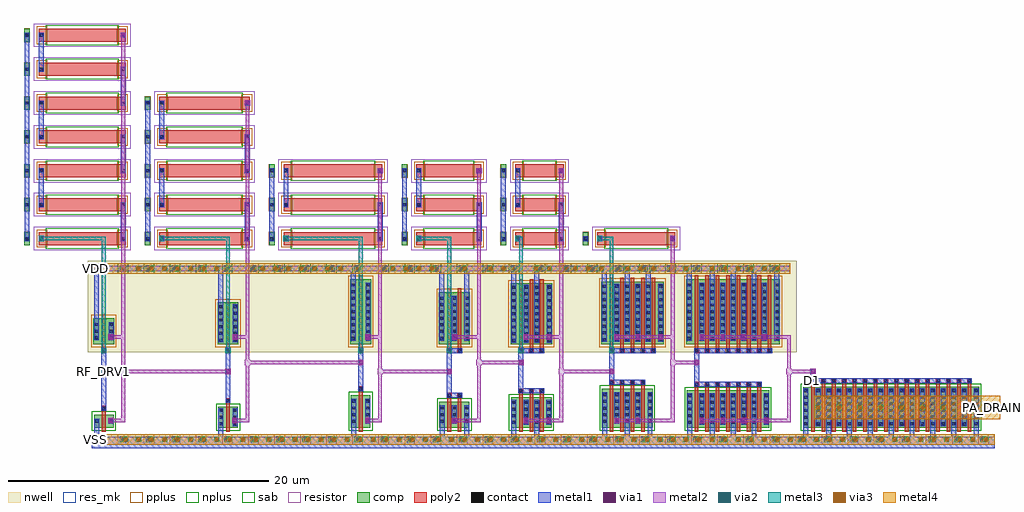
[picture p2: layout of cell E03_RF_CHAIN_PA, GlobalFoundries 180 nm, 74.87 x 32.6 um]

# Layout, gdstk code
import gdstk
lib = gdstk.Library(unit=1e-6, precision=1e-09)
def R(c, l, rs):  # rectangles x0, y0, x1, y1
    for r in rs: c.add(gdstk.rectangle(r[:2], r[2:], *l))
def A(c, l, x, y, w, h, nx, ny, dx, dy):  # array of equal rectangles
    R(c, l, [(x+i*dx, y+j*dy, x+i*dx+w, y+j*dy+h) for i in range(nx) for j in range(ny)])
def P(c, l, *ps):  # polygons
    for p in ps: c.add(gdstk.Polygon(p, *l))
nwell = (21, 0)
comp = (22, 0)
poly2 = (30, 0)
pplus = (31, 0)
nplus = (32, 0)
contact = (33, 0)
metal1 = (34, 0)
via1 = (35, 0)
metal2 = (36, 0)
via2 = (38, 0)
via3 = (40, 0)
metal3 = (42, 0)
metal4 = (46, 0)
sab = (49, 0)
resistor = (62, 0)
res_mk = (110, 5)

e03_nfet_w1_l0p28_nf1_to = lib.new_cell('E03_NFET_W1_L0p28_NF1_top')
R(e03_nfet_w1_l0p28_nf1_to, comp, [(-0.42,0,1.08,1)])
P(e03_nfet_w1_l0p28_nf1_to, poly2, [(0.19,-0.3),(0.19,1.3),(0.15,1.3),(0.15,1.66),(0.51,1.66),(0.51,1.3),(0.47,1.3),(0.47,-0.3)])
R(e03_nfet_w1_l0p28_nf1_to, nplus, [(-0.59,-0.24,1.25,1.24)])
R(e03_nfet_w1_l0p28_nf1_to, contact, [(-0.32,0.39,-0.1,0.61), (0.76,0.39,0.98,0.61), (0.22,1.37,0.44,1.59)])
R(e03_nfet_w1_l0p28_nf1_to, metal1, [(-0.4,0.31,-0.02,0.69), (0.68,0.31,1.06,0.69), (0.14,1.29,0.52,1.67)])

e03_pfet_w2_l0p28_nf1_bo = lib.new_cell('E03_PFET_W2_L0p28_NF1_bottom')
R(e03_pfet_w2_l0p28_nf1_bo, nwell, [(-0.9,-0.44,1.56,2.44)])
R(e03_pfet_w2_l0p28_nf1_bo, comp, [(-0.46,0,1.12,2)])
P(e03_pfet_w2_l0p28_nf1_bo, poly2, [(0.14,-0.68),(0.14,-0.3),(0.19,-0.3),(0.19,2.3),(0.47,2.3),(0.47,-0.3),(0.52,-0.3),(0.52,-0.68)])
R(e03_pfet_w2_l0p28_nf1_bo, pplus, [(-0.63,-0.24,1.29,2.24)])
A(e03_pfet_w2_l0p28_nf1_bo, contact, -0.34, 0.38, 0.22, 0.22, 1, 3, 0, 0.51)
A(e03_pfet_w2_l0p28_nf1_bo, contact, 0.78, 0.38, 0.22, 0.22, 1, 3, 0, 0.51)
R(e03_pfet_w2_l0p28_nf1_bo, contact, [(0.22,-0.6,0.44,-0.38)])
R(e03_pfet_w2_l0p28_nf1_bo, metal1, [(0.14,-0.68,0.52,-0.3), (-0.42,0.3,-0.04,1.7), (0.7,0.3,1.08,1.7)])

e03_rhr_w1_l5p37 = lib.new_cell('E03_RHR_W1_L5p37')
R(e03_rhr_w1_l5p37, comp, [(-1.76,0,-1.34,1)])
R(e03_rhr_w1_l5p37, poly2, [(-0.64,0,6.01,1)])
R(e03_rhr_w1_l5p37, pplus, [(-0.82,-0.18,0,1.18), (5.37,-0.18,6.19,1.18), (-1.78,-0.02,-1.32,1.02)])
R(e03_rhr_w1_l5p37, contact, [(-1.66,0.39,-1.44,0.61), (-0.57,0.39,-0.35,0.61), (5.72,0.39,5.94,0.61)])
R(e03_rhr_w1_l5p37, metal1, [(-1.74,0.31,-1.36,0.69), (-0.65,0.31,-0.27,0.69), (5.64,0.31,6.02,0.69)])
R(e03_rhr_w1_l5p37, sab, [(-0.1,-0.28,5.47,1.28)])
R(e03_rhr_w1_l5p37, resistor, [(-1.04,-0.4,6.41,1.4)])
R(e03_rhr_w1_l5p37, res_mk, [(0,0,5.37,1)])

e03_nfet_w1p6_l0p28_nf1_ = lib.new_cell('E03_NFET_W1p6_L0p28_NF1_top')
R(e03_nfet_w1p6_l0p28_nf1_, comp, [(-0.42,0,1.08,1.6)])
P(e03_nfet_w1p6_l0p28_nf1_, poly2, [(0.19,-0.3),(0.19,1.9),(0.15,1.9),(0.15,2.26),(0.51,2.26),(0.51,1.9),(0.47,1.9),(0.47,-0.3)])
R(e03_nfet_w1p6_l0p28_nf1_, nplus, [(-0.59,-0.24,1.25,1.84)])
A(e03_nfet_w1p6_l0p28_nf1_, contact, -0.32, 0.18, 0.22, 0.22, 1, 3, 0, 0.51)
A(e03_nfet_w1p6_l0p28_nf1_, contact, 0.76, 0.18, 0.22, 0.22, 1, 3, 0, 0.51)
R(e03_nfet_w1p6_l0p28_nf1_, contact, [(0.22,1.97,0.44,2.19)])
R(e03_nfet_w1p6_l0p28_nf1_, metal1, [(-0.4,0.1,-0.02,1.5), (0.68,0.1,1.06,1.5), (0.14,1.89,0.52,2.27)])

e03_pfet_w3p2_l0p28_nf1_ = lib.new_cell('E03_PFET_W3p2_L0p28_NF1_bottom')
R(e03_pfet_w3p2_l0p28_nf1_, nwell, [(-0.9,-0.44,1.56,3.64)])
R(e03_pfet_w3p2_l0p28_nf1_, comp, [(-0.46,0,1.12,3.2)])
P(e03_pfet_w3p2_l0p28_nf1_, poly2, [(0.14,-0.68),(0.14,-0.3),(0.19,-0.3),(0.19,3.5),(0.47,3.5),(0.47,-0.3),(0.52,-0.3),(0.52,-0.68)])
R(e03_pfet_w3p2_l0p28_nf1_, pplus, [(-0.63,-0.24,1.29,3.44)])
A(e03_pfet_w3p2_l0p28_nf1_, contact, -0.34, 0.215, 0.22, 0.22, 1, 6, 0, 0.51)
A(e03_pfet_w3p2_l0p28_nf1_, contact, 0.78, 0.215, 0.22, 0.22, 1, 6, 0, 0.51)
R(e03_pfet_w3p2_l0p28_nf1_, contact, [(0.22,-0.6,0.44,-0.38)])
R(e03_pfet_w3p2_l0p28_nf1_, metal1, [(0.14,-0.68,0.52,-0.3), (-0.42,0.135,-0.04,3.065), (0.7,0.135,1.08,3.065)])

e03_rhr_w1_l5p65 = lib.new_cell('E03_RHR_W1_L5p65')
R(e03_rhr_w1_l5p65, comp, [(-1.76,0,-1.34,1)])
R(e03_rhr_w1_l5p65, poly2, [(-0.64,0,6.29,1)])
R(e03_rhr_w1_l5p65, pplus, [(-0.82,-0.18,0,1.18), (5.65,-0.18,6.47,1.18), (-1.78,-0.02,-1.32,1.02)])
R(e03_rhr_w1_l5p65, contact, [(-1.66,0.39,-1.44,0.61), (-0.57,0.39,-0.35,0.61), (6,0.39,6.22,0.61)])
R(e03_rhr_w1_l5p65, metal1, [(-1.74,0.31,-1.36,0.69), (-0.65,0.31,-0.27,0.69), (5.92,0.31,6.3,0.69)])
R(e03_rhr_w1_l5p65, sab, [(-0.1,-0.28,5.75,1.28)])
R(e03_rhr_w1_l5p65, resistor, [(-1.04,-0.4,6.69,1.4)])
R(e03_rhr_w1_l5p65, res_mk, [(0,0,5.65,1)])

e03_nfet_w2p5_l0p28_nf1_ = lib.new_cell('E03_NFET_W2p5_L0p28_NF1_top')
R(e03_nfet_w2p5_l0p28_nf1_, comp, [(-0.42,0,1.08,2.5)])
P(e03_nfet_w2p5_l0p28_nf1_, poly2, [(0.19,-0.3),(0.19,2.8),(0.15,2.8),(0.15,3.16),(0.51,3.16),(0.51,2.8),(0.47,2.8),(0.47,-0.3)])
R(e03_nfet_w2p5_l0p28_nf1_, nplus, [(-0.59,-0.24,1.25,2.74)])
A(e03_nfet_w2p5_l0p28_nf1_, contact, -0.32, 0.375, 0.22, 0.22, 1, 4, 0, 0.51)
A(e03_nfet_w2p5_l0p28_nf1_, contact, 0.76, 0.375, 0.22, 0.22, 1, 4, 0, 0.51)
R(e03_nfet_w2p5_l0p28_nf1_, contact, [(0.22,2.87,0.44,3.09)])
R(e03_nfet_w2p5_l0p28_nf1_, metal1, [(-0.4,0.295,-0.02,2.205), (0.68,0.295,1.06,2.205), (0.14,2.79,0.52,3.17)])

e03_pfet_w5_l0p28_nf1_bo = lib.new_cell('E03_PFET_W5_L0p28_NF1_bottom')
R(e03_pfet_w5_l0p28_nf1_bo, nwell, [(-0.9,-0.44,1.56,5.44)])
R(e03_pfet_w5_l0p28_nf1_bo, comp, [(-0.46,0,1.12,5)])
P(e03_pfet_w5_l0p28_nf1_bo, poly2, [(0.14,-0.68),(0.14,-0.3),(0.19,-0.3),(0.19,5.3),(0.47,5.3),(0.47,-0.3),(0.52,-0.3),(0.52,-0.68)])
R(e03_pfet_w5_l0p28_nf1_bo, pplus, [(-0.63,-0.24,1.29,5.24)])
A(e03_pfet_w5_l0p28_nf1_bo, contact, -0.34, 0.35, 0.22, 0.22, 1, 9, 0, 0.51)
A(e03_pfet_w5_l0p28_nf1_bo, contact, 0.78, 0.35, 0.22, 0.22, 1, 9, 0, 0.51)
R(e03_pfet_w5_l0p28_nf1_bo, contact, [(0.22,-0.6,0.44,-0.38)])
R(e03_pfet_w5_l0p28_nf1_bo, metal1, [(0.14,-0.68,0.52,-0.3), (-0.42,0.27,-0.04,4.73), (0.7,0.27,1.08,4.73)])

e03_rhr_w1_l6p3 = lib.new_cell('E03_RHR_W1_L6p3')
R(e03_rhr_w1_l6p3, comp, [(-1.76,0,-1.34,1)])
R(e03_rhr_w1_l6p3, poly2, [(-0.64,0,6.94,1)])
R(e03_rhr_w1_l6p3, pplus, [(-0.82,-0.18,0,1.18), (6.3,-0.18,7.12,1.18), (-1.78,-0.02,-1.32,1.02)])
R(e03_rhr_w1_l6p3, contact, [(-1.66,0.39,-1.44,0.61), (-0.57,0.39,-0.35,0.61), (6.65,0.39,6.87,0.61)])
R(e03_rhr_w1_l6p3, metal1, [(-1.74,0.31,-1.36,0.69), (-0.65,0.31,-0.27,0.69), (6.57,0.31,6.95,0.69)])
R(e03_rhr_w1_l6p3, sab, [(-0.1,-0.28,6.4,1.28)])
R(e03_rhr_w1_l6p3, resistor, [(-1.04,-0.4,7.34,1.4)])
R(e03_rhr_w1_l6p3, res_mk, [(0,0,6.3,1)])

e03_nfet_w2_l0p28_nf2_to = lib.new_cell('E03_NFET_W2_L0p28_NF2_top')
R(e03_nfet_w2_l0p28_nf2_to, comp, [(-0.42,0,1.88,2)])
P(e03_nfet_w2_l0p28_nf2_to, poly2, [(0.19,-0.3),(0.19,2.3),(0.15,2.3),(0.15,2.66),(0.51,2.66),(0.51,2.3),(0.47,2.3),(0.47,-0.3)],
  [(0.99,-0.3),(0.99,2.3),(0.95,2.3),(0.95,2.66),(1.31,2.66),(1.31,2.3),(1.27,2.3),(1.27,-0.3)])
R(e03_nfet_w2_l0p28_nf2_to, nplus, [(-0.59,-0.24,2.05,2.24)])
A(e03_nfet_w2_l0p28_nf2_to, contact, -0.32, 0.38, 0.22, 0.22, 3, 3, 0.94, 0.51)
R(e03_nfet_w2_l0p28_nf2_to, contact, [(0.22,2.37,0.44,2.59), (1.02,2.37,1.24,2.59)])
A(e03_nfet_w2_l0p28_nf2_to, metal1, -0.4, 0.3, 0.38, 1.4, 3, 1, 0.94, 0)
R(e03_nfet_w2_l0p28_nf2_to, metal1, [(0.14,2.29,0.52,2.67), (0.94,2.29,1.32,2.67)])

e03_pfet_w4_l0p28_nf2_bo = lib.new_cell('E03_PFET_W4_L0p28_NF2_bottom')
R(e03_pfet_w4_l0p28_nf2_bo, nwell, [(-0.9,-0.44,2.36,4.44)])
R(e03_pfet_w4_l0p28_nf2_bo, comp, [(-0.46,0,1.92,4)])
P(e03_pfet_w4_l0p28_nf2_bo, poly2, [(0.14,-0.68),(0.14,-0.3),(0.19,-0.3),(0.19,4.3),(0.47,4.3),(0.47,-0.3),(0.52,-0.3),(0.52,-0.68)],
  [(0.94,-0.68),(0.94,-0.3),(0.99,-0.3),(0.99,4.3),(1.27,4.3),(1.27,-0.3),(1.32,-0.3),(1.32,-0.68)])
R(e03_pfet_w4_l0p28_nf2_bo, pplus, [(-0.63,-0.24,2.09,4.24)])
A(e03_pfet_w4_l0p28_nf2_bo, contact, -0.34, 0.36, 0.22, 0.22, 3, 7, 0.96, 0.51)
R(e03_pfet_w4_l0p28_nf2_bo, contact, [(0.22,-0.6,0.44,-0.38), (1.02,-0.6,1.24,-0.38)])
A(e03_pfet_w4_l0p28_nf2_bo, metal1, -0.42, 0.28, 0.38, 3.44, 3, 1, 0.96, 0)
R(e03_pfet_w4_l0p28_nf2_bo, metal1, [(0.14,-0.68,0.52,-0.3), (0.94,-0.68,1.32,-0.3)])

e03_rhr_w1_l3p71 = lib.new_cell('E03_RHR_W1_L3p71')
R(e03_rhr_w1_l3p71, comp, [(-1.76,0,-1.34,1)])
R(e03_rhr_w1_l3p71, poly2, [(-0.64,0,4.35,1)])
R(e03_rhr_w1_l3p71, pplus, [(-0.82,-0.18,0,1.18), (3.71,-0.18,4.53,1.18), (-1.78,-0.02,-1.32,1.02)])
R(e03_rhr_w1_l3p71, contact, [(-1.66,0.39,-1.44,0.61), (-0.57,0.39,-0.35,0.61), (4.06,0.39,4.28,0.61)])
R(e03_rhr_w1_l3p71, metal1, [(-1.74,0.31,-1.36,0.69), (-0.65,0.31,-0.27,0.69), (3.98,0.31,4.36,0.69)])
R(e03_rhr_w1_l3p71, sab, [(-0.1,-0.28,3.81,1.28)])
R(e03_rhr_w1_l3p71, resistor, [(-1.04,-0.4,4.75,1.4)])
R(e03_rhr_w1_l3p71, res_mk, [(0,0,3.71,1)])

e03_nfet_w2p33333_l0p28_ = lib.new_cell('E03_NFET_W2p33333_L0p28_NF3_top')
R(e03_nfet_w2p33333_l0p28_, comp, [(-0.42,0,2.68,2.335)])
P(e03_nfet_w2p33333_l0p28_, poly2, [(0.19,-0.3),(0.19,2.635),(0.15,2.635),(0.15,2.995),(0.51,2.995),(0.51,2.635),(0.47,2.635),(0.47,-0.3)],
  [(0.99,-0.3),(0.99,2.635),(0.95,2.635),(0.95,2.995),(1.31,2.995),(1.31,2.635),(1.27,2.635),(1.27,-0.3)],
  [(1.79,-0.3),(1.79,2.635),(1.75,2.635),(1.75,2.995),(2.11,2.995),(2.11,2.635),(2.07,2.635),(2.07,-0.3)])
R(e03_nfet_w2p33333_l0p28_, nplus, [(-0.59,-0.24,2.85,2.575)])
A(e03_nfet_w2p33333_l0p28_, contact, -0.32, 0.29, 0.22, 0.22, 1, 4, 0, 0.51)
A(e03_nfet_w2p33333_l0p28_, contact, 0.62, 0.29, 0.22, 0.22, 1, 4, 0, 0.51)
A(e03_nfet_w2p33333_l0p28_, contact, 1.42, 0.29, 0.22, 0.22, 1, 4, 0, 0.51)
A(e03_nfet_w2p33333_l0p28_, contact, 2.36, 0.29, 0.22, 0.22, 1, 4, 0, 0.51)
A(e03_nfet_w2p33333_l0p28_, contact, 0.22, 2.705, 0.22, 0.22, 3, 1, 0.8, 0)
A(e03_nfet_w2p33333_l0p28_, metal1, 0.14, 2.62, 0.38, 0.385, 3, 1, 0.8, 0)
R(e03_nfet_w2p33333_l0p28_, metal1, [(-0.4,0.21,-0.02,2.12), (0.54,0.21,0.92,2.12), (1.34,0.21,1.72,2.12), (2.28,0.21,2.66,2.12)])

e03_pfet_w4p66667_l0p28_ = lib.new_cell('E03_PFET_W4p66667_L0p28_NF3_bottom')
R(e03_pfet_w4p66667_l0p28_, nwell, [(-0.9,-0.44,3.16,5.105)])
R(e03_pfet_w4p66667_l0p28_, comp, [(-0.46,0,2.72,4.665)])
P(e03_pfet_w4p66667_l0p28_, poly2, [(0.14,-0.68),(0.14,-0.3),(0.19,-0.3),(0.19,4.965),(0.47,4.965),(0.47,-0.3),(0.52,-0.3),(0.52,-0.68)],
  [(0.94,-0.68),(0.94,-0.3),(0.99,-0.3),(0.99,4.965),(1.27,4.965),(1.27,-0.3),(1.32,-0.3),(1.32,-0.68)],
  [(1.74,-0.68),(1.74,-0.3),(1.79,-0.3),(1.79,4.965),(2.07,4.965),(2.07,-0.3),(2.12,-0.3),(2.12,-0.68)])
R(e03_pfet_w4p66667_l0p28_, pplus, [(-0.63,-0.24,2.89,4.905)])
A(e03_pfet_w4p66667_l0p28_, contact, 0.22, -0.6, 0.22, 0.22, 3, 1, 0.8, 0)
A(e03_pfet_w4p66667_l0p28_, contact, -0.34, 0.185, 0.22, 0.22, 1, 9, 0, 0.51)
A(e03_pfet_w4p66667_l0p28_, contact, 0.62, 0.185, 0.22, 0.22, 1, 9, 0, 0.51)
A(e03_pfet_w4p66667_l0p28_, contact, 1.42, 0.185, 0.22, 0.22, 1, 9, 0, 0.51)
A(e03_pfet_w4p66667_l0p28_, contact, 2.38, 0.185, 0.22, 0.22, 1, 9, 0, 0.51)
A(e03_pfet_w4p66667_l0p28_, metal1, 0.14, -0.68, 0.38, 0.38, 3, 1, 0.8, 0)
R(e03_pfet_w4p66667_l0p28_, metal1, [(-0.42,0.105,-0.04,4.565), (0.54,0.105,0.92,4.565), (1.34,0.105,1.72,4.565), (2.3,0.105,2.68,4.565)])

e03_rhr_w1_l2p42 = lib.new_cell('E03_RHR_W1_L2p42')
R(e03_rhr_w1_l2p42, comp, [(-1.76,0,-1.34,1)])
R(e03_rhr_w1_l2p42, poly2, [(-0.64,0,3.06,1)])
R(e03_rhr_w1_l2p42, pplus, [(-0.82,-0.18,0,1.18), (2.42,-0.18,3.24,1.18), (-1.78,-0.02,-1.32,1.02)])
R(e03_rhr_w1_l2p42, contact, [(-1.66,0.39,-1.44,0.61), (-0.57,0.39,-0.35,0.61), (2.77,0.39,2.99,0.61)])
R(e03_rhr_w1_l2p42, metal1, [(-1.74,0.31,-1.36,0.69), (-0.65,0.31,-0.27,0.69), (2.69,0.31,3.07,0.69)])
R(e03_rhr_w1_l2p42, sab, [(-0.1,-0.28,2.52,1.28)])
R(e03_rhr_w1_l2p42, resistor, [(-1.04,-0.4,3.46,1.4)])
R(e03_rhr_w1_l2p42, res_mk, [(0,0,2.42,1)])

e03_nfet_w3_l0p28_nf4_to = lib.new_cell('E03_NFET_W3_L0p28_NF4_top')
R(e03_nfet_w3_l0p28_nf4_to, comp, [(-0.42,0,3.48,3)])
P(e03_nfet_w3_l0p28_nf4_to, poly2, [(0.19,-0.3),(0.19,3.3),(0.15,3.3),(0.15,3.66),(0.51,3.66),(0.51,3.3),(0.47,3.3),(0.47,-0.3)],
  [(0.99,-0.3),(0.99,3.3),(0.95,3.3),(0.95,3.66),(1.31,3.66),(1.31,3.3),(1.27,3.3),(1.27,-0.3)],
  [(1.79,-0.3),(1.79,3.3),(1.75,3.3),(1.75,3.66),(2.11,3.66),(2.11,3.3),(2.07,3.3),(2.07,-0.3)],
  [(2.59,-0.3),(2.59,3.3),(2.55,3.3),(2.55,3.66),(2.91,3.66),(2.91,3.3),(2.87,3.3),(2.87,-0.3)])
R(e03_nfet_w3_l0p28_nf4_to, nplus, [(-0.59,-0.24,3.65,3.24)])
A(e03_nfet_w3_l0p28_nf4_to, contact, -0.32, 0.37, 0.22, 0.22, 1, 5, 0, 0.51)
A(e03_nfet_w3_l0p28_nf4_to, contact, 0.62, 0.37, 0.22, 0.22, 3, 5, 0.8, 0.51)
A(e03_nfet_w3_l0p28_nf4_to, contact, 3.16, 0.37, 0.22, 0.22, 1, 5, 0, 0.51)
A(e03_nfet_w3_l0p28_nf4_to, contact, 0.22, 3.37, 0.22, 0.22, 4, 1, 0.8, 0)
A(e03_nfet_w3_l0p28_nf4_to, metal1, 0.54, 0.29, 0.38, 2.42, 3, 1, 0.8, 0)
A(e03_nfet_w3_l0p28_nf4_to, metal1, 0.14, 3.29, 0.38, 0.38, 4, 1, 0.8, 0)
R(e03_nfet_w3_l0p28_nf4_to, metal1, [(-0.4,0.29,-0.02,2.71), (3.08,0.29,3.46,2.71)])

e03_pfet_w4p8_l0p28_nf5_ = lib.new_cell('E03_PFET_W4p8_L0p28_NF5_bottom')
R(e03_pfet_w4p8_l0p28_nf5_, nwell, [(-0.9,-0.44,4.76,5.24)])
R(e03_pfet_w4p8_l0p28_nf5_, comp, [(-0.46,0,4.32,4.8)])
P(e03_pfet_w4p8_l0p28_nf5_, poly2, [(0.14,-0.68),(0.14,-0.3),(0.19,-0.3),(0.19,5.1),(0.47,5.1),(0.47,-0.3),(0.52,-0.3),(0.52,-0.68)],
  [(0.94,-0.68),(0.94,-0.3),(0.99,-0.3),(0.99,5.1),(1.27,5.1),(1.27,-0.3),(1.32,-0.3),(1.32,-0.68)],
  [(1.74,-0.68),(1.74,-0.3),(1.79,-0.3),(1.79,5.1),(2.07,5.1),(2.07,-0.3),(2.12,-0.3),(2.12,-0.68)],
  [(2.54,-0.68),(2.54,-0.3),(2.59,-0.3),(2.59,5.1),(2.87,5.1),(2.87,-0.3),(2.92,-0.3),(2.92,-0.68)],
  [(3.34,-0.68),(3.34,-0.3),(3.39,-0.3),(3.39,5.1),(3.67,5.1),(3.67,-0.3),(3.72,-0.3),(3.72,-0.68)])
R(e03_pfet_w4p8_l0p28_nf5_, pplus, [(-0.63,-0.24,4.49,5.04)])
A(e03_pfet_w4p8_l0p28_nf5_, contact, 0.22, -0.6, 0.22, 0.22, 5, 1, 0.8, 0)
A(e03_pfet_w4p8_l0p28_nf5_, contact, -0.34, 0.25, 0.22, 0.22, 1, 9, 0, 0.51)
A(e03_pfet_w4p8_l0p28_nf5_, contact, 0.62, 0.25, 0.22, 0.22, 4, 9, 0.8, 0.51)
A(e03_pfet_w4p8_l0p28_nf5_, contact, 3.98, 0.25, 0.22, 0.22, 1, 9, 0, 0.51)
A(e03_pfet_w4p8_l0p28_nf5_, metal1, 0.14, -0.68, 0.38, 0.38, 5, 1, 0.8, 0)
A(e03_pfet_w4p8_l0p28_nf5_, metal1, 0.54, 0.17, 0.38, 4.46, 4, 1, 0.8, 0)
R(e03_pfet_w4p8_l0p28_nf5_, metal1, [(-0.42,0.17,-0.04,4.63), (3.9,0.17,4.28,4.63)])

e03_rhr_w1_l4p68 = lib.new_cell('E03_RHR_W1_L4p68')
R(e03_rhr_w1_l4p68, comp, [(-1.76,0,-1.34,1)])
R(e03_rhr_w1_l4p68, poly2, [(-0.64,0,5.32,1)])
R(e03_rhr_w1_l4p68, pplus, [(-0.82,-0.18,0,1.18), (4.68,-0.18,5.5,1.18), (-1.78,-0.02,-1.32,1.02)])
R(e03_rhr_w1_l4p68, contact, [(-1.66,0.39,-1.44,0.61), (-0.57,0.39,-0.35,0.61), (5.03,0.39,5.25,0.61)])
R(e03_rhr_w1_l4p68, metal1, [(-1.74,0.31,-1.36,0.69), (-0.65,0.31,-0.27,0.69), (4.95,0.31,5.33,0.69)])
R(e03_rhr_w1_l4p68, sab, [(-0.1,-0.28,4.78,1.28)])
R(e03_rhr_w1_l4p68, resistor, [(-1.04,-0.4,5.72,1.4)])
R(e03_rhr_w1_l4p68, res_mk, [(0,0,4.68,1)])

e03_nfet_w2p85714_l0p28_ = lib.new_cell('E03_NFET_W2p85714_L0p28_NF7_top')
R(e03_nfet_w2p85714_l0p28_, comp, [(-0.42,0,5.88,2.86)])
P(e03_nfet_w2p85714_l0p28_, poly2, [(0.19,-0.3),(0.19,3.155),(0.15,3.155),(0.15,3.515),(0.51,3.515),(0.51,3.155),(0.47,3.155),(0.47,-0.3)],
  [(0.99,-0.3),(0.99,3.155),(0.95,3.155),(0.95,3.515),(1.31,3.515),(1.31,3.155),(1.27,3.155),(1.27,-0.3)],
  [(1.79,-0.3),(1.79,3.155),(1.75,3.155),(1.75,3.515),(2.11,3.515),(2.11,3.155),(2.07,3.155),(2.07,-0.3)],
  [(2.59,-0.3),(2.59,3.155),(2.55,3.155),(2.55,3.515),(2.91,3.515),(2.91,3.155),(2.87,3.155),(2.87,-0.3)],
  [(3.39,-0.3),(3.39,3.155),(3.35,3.155),(3.35,3.515),(3.71,3.515),(3.71,3.155),(3.67,3.155),(3.67,-0.3)],
  [(4.19,-0.3),(4.19,3.155),(4.15,3.155),(4.15,3.515),(4.51,3.515),(4.51,3.155),(4.47,3.155),(4.47,-0.3)],
  [(4.99,-0.3),(4.99,3.155),(4.95,3.155),(4.95,3.515),(5.31,3.515),(5.31,3.155),(5.27,3.155),(5.27,-0.3)])
R(e03_nfet_w2p85714_l0p28_, nplus, [(-0.59,-0.24,6.05,3.1)])
A(e03_nfet_w2p85714_l0p28_, contact, -0.32, 0.3, 0.22, 0.22, 1, 5, 0, 0.51)
A(e03_nfet_w2p85714_l0p28_, contact, 0.62, 0.3, 0.22, 0.22, 6, 5, 0.8, 0.51)
A(e03_nfet_w2p85714_l0p28_, contact, 5.56, 0.3, 0.22, 0.22, 1, 5, 0, 0.51)
A(e03_nfet_w2p85714_l0p28_, contact, 0.22, 3.225, 0.22, 0.22, 7, 1, 0.8, 0)
A(e03_nfet_w2p85714_l0p28_, metal1, 0.54, 0.22, 0.38, 2.42, 6, 1, 0.8, 0)
A(e03_nfet_w2p85714_l0p28_, metal1, 0.14, 3.145, 0.38, 0.385, 7, 1, 0.8, 0)
R(e03_nfet_w2p85714_l0p28_, metal1, [(-0.4,0.22,-0.02,2.64), (5.48,0.22,5.86,2.64)])

e03_pfet_w5_l0p28_nf8_bo = lib.new_cell('E03_PFET_W5_L0p28_NF8_bottom')
R(e03_pfet_w5_l0p28_nf8_bo, nwell, [(-0.9,-0.44,7.16,5.44)])
R(e03_pfet_w5_l0p28_nf8_bo, comp, [(-0.46,0,6.72,5)])
P(e03_pfet_w5_l0p28_nf8_bo, poly2, [(0.14,-0.68),(0.14,-0.3),(0.19,-0.3),(0.19,5.3),(0.47,5.3),(0.47,-0.3),(0.52,-0.3),(0.52,-0.68)],
  [(0.94,-0.68),(0.94,-0.3),(0.99,-0.3),(0.99,5.3),(1.27,5.3),(1.27,-0.3),(1.32,-0.3),(1.32,-0.68)],
  [(1.74,-0.68),(1.74,-0.3),(1.79,-0.3),(1.79,5.3),(2.07,5.3),(2.07,-0.3),(2.12,-0.3),(2.12,-0.68)],
  [(2.54,-0.68),(2.54,-0.3),(2.59,-0.3),(2.59,5.3),(2.87,5.3),(2.87,-0.3),(2.92,-0.3),(2.92,-0.68)],
  [(3.34,-0.68),(3.34,-0.3),(3.39,-0.3),(3.39,5.3),(3.67,5.3),(3.67,-0.3),(3.72,-0.3),(3.72,-0.68)],
  [(4.14,-0.68),(4.14,-0.3),(4.19,-0.3),(4.19,5.3),(4.47,5.3),(4.47,-0.3),(4.52,-0.3),(4.52,-0.68)],
  [(4.94,-0.68),(4.94,-0.3),(4.99,-0.3),(4.99,5.3),(5.27,5.3),(5.27,-0.3),(5.32,-0.3),(5.32,-0.68)],
  [(5.74,-0.68),(5.74,-0.3),(5.79,-0.3),(5.79,5.3),(6.07,5.3),(6.07,-0.3),(6.12,-0.3),(6.12,-0.68)])
R(e03_pfet_w5_l0p28_nf8_bo, pplus, [(-0.63,-0.24,6.89,5.24)])
A(e03_pfet_w5_l0p28_nf8_bo, contact, 0.22, -0.6, 0.22, 0.22, 8, 1, 0.8, 0)
A(e03_pfet_w5_l0p28_nf8_bo, contact, -0.34, 0.35, 0.22, 0.22, 1, 9, 0, 0.51)
A(e03_pfet_w5_l0p28_nf8_bo, contact, 0.62, 0.35, 0.22, 0.22, 7, 9, 0.8, 0.51)
A(e03_pfet_w5_l0p28_nf8_bo, contact, 6.38, 0.35, 0.22, 0.22, 1, 9, 0, 0.51)
A(e03_pfet_w5_l0p28_nf8_bo, metal1, 0.14, -0.68, 0.38, 0.38, 8, 1, 0.8, 0)
A(e03_pfet_w5_l0p28_nf8_bo, metal1, 0.54, 0.27, 0.38, 4.46, 7, 1, 0.8, 0)
R(e03_pfet_w5_l0p28_nf8_bo, metal1, [(-0.42,0.27,-0.04,4.73), (6.3,0.27,6.68,4.73)])

e03_nfet_w3p125_l0p28_nf = lib.new_cell('E03_NFET_W3p125_L0p28_NF16_top')
R(e03_nfet_w3p125_l0p28_nf, comp, [(-0.42,0,13.08,3.125)])
A(e03_nfet_w3p125_l0p28_nf, poly2, 0.19, -0.3, 0.28, 3.725, 16, 1, 0.8, 0)
A(e03_nfet_w3p125_l0p28_nf, poly2, 0.15, 3.425, 0.36, 0.36, 16, 1, 0.8, 0)
R(e03_nfet_w3p125_l0p28_nf, nplus, [(-0.59,-0.24,13.25,3.365)])
A(e03_nfet_w3p125_l0p28_nf, contact, -0.32, 0.18, 0.22, 0.22, 1, 6, 0, 0.51)
A(e03_nfet_w3p125_l0p28_nf, contact, 0.62, 0.18, 0.22, 0.22, 15, 6, 0.8, 0.51)
A(e03_nfet_w3p125_l0p28_nf, contact, 12.76, 0.18, 0.22, 0.22, 1, 6, 0, 0.51)
A(e03_nfet_w3p125_l0p28_nf, contact, 0.22, 3.495, 0.22, 0.22, 16, 1, 0.8, 0)
A(e03_nfet_w3p125_l0p28_nf, metal1, 0.54, 0.1, 0.38, 2.93, 15, 1, 0.8, 0)
A(e03_nfet_w3p125_l0p28_nf, metal1, 0.14, 3.415, 0.38, 0.38, 16, 1, 0.8, 0)
R(e03_nfet_w3p125_l0p28_nf, metal1, [(-0.4,0.1,-0.02,3.03), (12.68,0.1,13.06,3.03)])

e03_tap_sub_2 = lib.new_cell('E03_TAP_SUB$2')
R(e03_tap_sub_2, comp, [(-0.24,-0.24,0.24,0.24)])
R(e03_tap_sub_2, pplus, [(-0.4,-0.4,0.4,0.4)])
R(e03_tap_sub_2, contact, [(-0.11,-0.11,0.11,0.11)])
R(e03_tap_sub_2, metal1, [(-0.2,-0.2,0.2,0.2)])

e03_tap_nw_1 = lib.new_cell('E03_TAP_NW$1')
R(e03_tap_nw_1, nwell, [(-0.5,-0.5,0.5,0.5)])
R(e03_tap_nw_1, comp, [(-0.24,-0.24,0.24,0.24)])
R(e03_tap_nw_1, nplus, [(-0.4,-0.4,0.4,0.4)])
R(e03_tap_nw_1, contact, [(-0.11,-0.11,0.11,0.11)])
R(e03_tap_nw_1, metal1, [(-0.2,-0.2,0.2,0.2)])

e03_rf_chain_pa = lib.new_cell('E03_RF_CHAIN_PA')
R(e03_rf_chain_pa, nwell, [(-0.3,6.8,54.1,13.8)])
A(e03_rf_chain_pa, metal1, 2.4, -0.1, 0.4, 0.4, 67, 1, 1, 0)
A(e03_rf_chain_pa, metal1, 39.16, 0.25, 0.38, 1.09, 3, 1, 1.74, 0)
A(e03_rf_chain_pa, metal1, 47.42, 0.25, 0.38, 1.02, 3, 1, 1.6, 0)
A(e03_rf_chain_pa, metal1, 56.34, 0.25, 0.38, 0.9, 7, 1, 1.6, 0)
A(e03_rf_chain_pa, metal1, 46.61, 1.35, 0.4, 0.4, 3, 1, 1.6, 0)
A(e03_rf_chain_pa, metal1, 55.53, 2.35, 0.4, 0.4, 8, 1, 1.6, 0)
A(e03_rf_chain_pa, metal1, 46.61, 7.75, 0.4, 0.4, 4, 1, 1.6, 0)
A(e03_rf_chain_pa, metal1, 47.42, 12.08, 0.38, 0.97, 3, 1, 1.6, 0)
A(e03_rf_chain_pa, metal1, 3.4, 13, 0.4, 0.4, 7, 1, 1, 0)
A(e03_rf_chain_pa, metal1, 12.9, 13, 0.4, 0.4, 7, 1, 1, 0)
A(e03_rf_chain_pa, metal1, 22.9, 13, 0.4, 0.4, 4, 1, 1, 0)
A(e03_rf_chain_pa, metal1, 36.9, 13, 0.4, 0.4, 3, 1, 1, 0)
A(e03_rf_chain_pa, metal1, 40.9, 13, 0.4, 0.4, 3, 1, 1, 0)
A(e03_rf_chain_pa, metal1, 47.4, 13, 0.4, 0.4, 6, 1, 1, 0)
A(e03_rf_chain_pa, metal1, 2.23, 15.31, 0.38, 2.98, 1, 3, 0, 5.2)
A(e03_rf_chain_pa, metal1, -4.06, 17.91, 0.38, 2.98, 1, 3, 0, 5.2)
R(e03_rf_chain_pa, metal1, [(0,-0.6,69.28,0.3), (0,-0.1,69.28,0.3), (0.2,-0.1,68.6,0.3), (0.2,0.25,0.58,1.36), (9.73,0.25,10.11,1.15), (19.91,0.25,20.29,1.345), (26.7,0.25,27.08,1.35), (28.58,0.25,28.96,1.35), (32.2,0.25,32.58,1.26), (33.94,0.25,34.32,1.26), (45.68,0.25,46.06,1.27), (54.6,0.25,54.98,1.15), (67.68,0.25,68.06,1.15), (1.27,1.35,1.67,1.75), (10.8,1.35,11.2,1.75), (20.98,1.35,21.38,1.75), (27.63,1.35,28.03,1.75), (33.13,1.35,33.53,1.75), (34.87,1.35,35.27,1.75), (40.09,1.35,40.49,1.75), (41.69,1.35,42.09,1.75), (51.55,1.35,51.95,1.75), (0.74,2.29,1.12,2.67), (0.74,2.29,1.12,7.1), (10.27,2.89,10.65,3.27), (10.27,2.89,10.65,7.1), (27.24,3.29,28.42,3.67), (27.24,3.29,27.62,7.1), (32.74,3.62,33.12,7.1), (32.74,3.62,34.72,4.005), (20.45,3.79,20.83,7.1), (20.45,3.79,20.83,4.17), (46.22,4.145,51.4,4.53), (46.22,4.145,46.6,7.1), (39.7,4.29,42.48,4.67), (39.7,4.29,40.08,7.1), (55.14,4.415,67.52,4.795), (55.14,4.605,55.52,5.5), (0.73,5.1,1.13,5.5), (10.26,5.1,10.66,5.5), (27.23,5.1,27.63,5.5), (39.69,5.1,40.09,5.5), (55.13,5.1,55.53,5.5), (20.44,5.8,20.84,6.2), (32.73,5.8,33.13,6.2), (46.21,5.8,46.61,6.2), (0.73,6.71,1.13,7.11), (10.26,6.71,10.66,7.11), (20.44,6.71,20.84,7.11), (27.23,6.71,27.63,7.11), (32.73,6.71,33.13,7.11), (39.69,6.71,40.09,7.11), (0.74,6.72,1.12,7.1), (10.27,6.72,10.65,7.1), (20.45,6.72,20.83,7.1), (27.24,6.72,28.42,7.1), (32.74,6.72,34.72,7.1), (39.7,6.72,43.28,7.1), (46.22,6.72,52.2,7.1), (1.29,7.75,1.69,8.15), (10.82,7.75,11.22,8.15), (21,7.75,21.4,8.15), (27.63,7.75,28.03,8.15), (33.13,7.75,33.53,8.15), (34.89,7.75,35.29,8.15), (40.09,7.75,40.49,8.15), (41.69,7.75,42.09,8.15), (43.45,7.75,43.85,8.15), (0.18,9.05,0.56,13.05), (9.71,10.415,10.09,13.05), (26.68,11.07,27.06,13.05), (28.6,11.07,28.98,13.05), (32.18,11.915,32.56,13.05), (33.94,11.915,34.32,13.05), (39.14,11.98,39.52,13.05), (40.9,11.98,41.28,13.05), (42.5,11.98,42.88,13.05), (19.89,12.08,20.27,13.05), (45.66,12.08,46.04,13.05), (52.38,12.08,52.76,13.05), (0,13,53.6,13.4), (0.2,13,52.6,13.4), (28.4,13,28.8,13.4), (30.4,13,30.8,13.4), (31.4,13,31.8,13.4), (33.9,13,34.3,13.4), (34.9,13,35.3,13.4), (45.4,13,45.8,13.4), (-4.07,15.3,-3.67,15.7), (5.18,15.3,5.58,15.7), (14.71,15.3,15.11,15.7), (24.89,15.3,25.29,15.7), (32.48,15.3,32.88,15.7), (38.78,15.3,39.18,15.7), (44.38,15.3,44.78,15.7), (-5.15,15.31,-4.77,31.29), (4.1,15.31,4.48,26.09), (11.76,15.31,12.14,18.29), (13.63,15.31,14.01,20.89), (21.94,15.31,22.32,18.29), (23.81,15.31,24.19,20.89), (29.53,15.31,29.91,18.29), (31.4,15.31,31.78,20.89), (35.83,15.31,36.21,18.29), (5.19,17.91,5.57,20.89), (14.72,17.91,15.1,20.89), (24.9,17.91,25.28,20.89), (32.49,17.91,32.87,20.89), (21.93,20.5,22.33,20.9), (29.52,20.5,29.92,20.9), (35.82,20.5,36.22,20.9), (11.76,20.51,12.14,23.49), (5.19,23.11,5.57,26.09), (11.75,25.7,12.15,26.1), (2.22,30.9,2.62,31.3)])
A(e03_rf_chain_pa, via1, 2.47, -0.03, 0.26, 0.26, 67, 1, 1, 0)
A(e03_rf_chain_pa, via1, 46.68, 1.42, 0.26, 0.26, 3, 1, 1.6, 0)
A(e03_rf_chain_pa, via1, 55.6, 2.42, 0.26, 0.26, 8, 1, 1.6, 0)
A(e03_rf_chain_pa, via1, 46.68, 7.82, 0.26, 0.26, 4, 1, 1.6, 0)
A(e03_rf_chain_pa, via1, 3.47, 13.07, 0.26, 0.26, 7, 1, 1, 0)
A(e03_rf_chain_pa, via1, 12.97, 13.07, 0.26, 0.26, 7, 1, 1, 0)
A(e03_rf_chain_pa, via1, 22.97, 13.07, 0.26, 0.26, 4, 1, 1, 0)
A(e03_rf_chain_pa, via1, 36.97, 13.07, 0.26, 0.26, 3, 1, 1, 0)
A(e03_rf_chain_pa, via1, 40.97, 13.07, 0.26, 0.26, 3, 1, 1, 0)
A(e03_rf_chain_pa, via1, 47.47, 13.07, 0.26, 0.26, 6, 1, 1, 0)
R(e03_rf_chain_pa, via1, [(1.34,1.42,1.6,1.68), (10.87,1.42,11.13,1.68), (21.05,1.42,21.31,1.68), (27.7,1.42,27.96,1.68), (33.2,1.42,33.46,1.68), (34.94,1.42,35.2,1.68), (40.16,1.42,40.42,1.68), (41.76,1.42,42.02,1.68), (51.62,1.42,51.88,1.68), (0.8,5.17,1.06,5.43), (10.33,5.17,10.59,5.43), (27.3,5.17,27.56,5.43), (39.76,5.17,40.02,5.43), (55.2,5.17,55.46,5.43), (20.51,5.87,20.77,6.13), (32.8,5.87,33.06,6.13), (46.28,5.87,46.54,6.13), (0.8,6.78,1.06,7.04), (10.33,6.78,10.59,7.04), (20.51,6.78,20.77,7.04), (27.3,6.78,27.56,7.04), (32.8,6.78,33.06,7.04), (39.76,6.78,40.02,7.04), (1.36,7.82,1.62,8.08), (10.89,7.82,11.15,8.08), (21.07,7.82,21.33,8.08), (27.7,7.82,27.96,8.08), (33.2,7.82,33.46,8.08), (34.96,7.82,35.22,8.08), (40.16,7.82,40.42,8.08), (41.76,7.82,42.02,8.08), (43.52,7.82,43.78,8.08), (28.47,13.07,28.73,13.33), (30.47,13.07,30.73,13.33), (31.47,13.07,31.73,13.33), (33.97,13.07,34.23,13.33), (34.97,13.07,35.23,13.33), (45.47,13.07,45.73,13.33), (-4,15.37,-3.74,15.63), (5.25,15.37,5.51,15.63), (14.78,15.37,15.04,15.63), (24.96,15.37,25.22,15.63), (32.55,15.37,32.81,15.63), (38.85,15.37,39.11,15.63), (44.45,15.37,44.71,15.63), (22,20.57,22.26,20.83), (29.59,20.57,29.85,20.83), (35.89,20.57,36.15,20.83), (11.82,25.77,12.08,26.03), (2.29,30.97,2.55,31.23)])
A(e03_rf_chain_pa, metal2, 2.4, -0.1, 0.4, 0.4, 67, 1, 1, 0)
A(e03_rf_chain_pa, metal2, 46.61, 1.35, 0.4, 0.4, 3, 1, 1.6, 0)
A(e03_rf_chain_pa, metal2, 55.53, 2.35, 0.4, 0.4, 8, 1, 1.6, 0)
A(e03_rf_chain_pa, metal2, 46.61, 7.75, 0.4, 0.4, 4, 1, 1.6, 0)
A(e03_rf_chain_pa, metal2, 3.4, 13, 0.4, 0.4, 7, 1, 1, 0)
A(e03_rf_chain_pa, metal2, 12.9, 13, 0.4, 0.4, 7, 1, 1, 0)
A(e03_rf_chain_pa, metal2, 22.9, 13, 0.4, 0.4, 4, 1, 1, 0)
A(e03_rf_chain_pa, metal2, 36.9, 13, 0.4, 0.4, 3, 1, 1, 0)
A(e03_rf_chain_pa, metal2, 40.9, 13, 0.4, 0.4, 3, 1, 1, 0)
A(e03_rf_chain_pa, metal2, 47.4, 13, 0.4, 0.4, 6, 1, 1, 0)
R(e03_rf_chain_pa, metal2, [(1.27,1.35,1.67,1.75), (10.8,1.35,11.2,1.75), (20.98,1.35,21.38,1.75), (27.63,1.35,28.03,1.75), (33.13,1.35,33.53,1.75), (34.87,1.35,35.27,1.75), (40.09,1.35,40.49,1.75), (41.69,1.35,42.09,1.75), (51.55,1.35,51.95,1.75), (1.33,1.41,2.56,1.69), (2.28,1.41,2.56,31.24), (10.86,1.41,12.09,1.69), (11.81,1.41,12.09,26.04), (21.04,1.41,22.27,1.69), (21.99,1.41,22.27,20.84), (27.69,1.41,29.86,1.69), (29.58,1.41,29.86,20.84), (33.19,1.41,36.16,1.69), (35.88,1.41,36.16,20.84), (40.15,1.41,44.72,1.69), (44.44,1.41,44.72,15.64), (46.67,1.41,53.64,1.69), (53.36,1.41,53.64,8.09), (0.73,5.1,1.13,5.5), (2.22,5.1,2.62,5.5), (10.26,5.1,10.66,5.5), (21.93,5.1,22.33,5.5), (27.23,5.1,27.63,5.5), (35.82,5.1,36.22,5.5), (39.69,5.1,40.09,5.5), (53.3,5.1,53.7,5.5), (55.13,5.1,55.53,5.5), (2.28,5.16,10.6,5.44), (21.99,5.16,27.57,5.44), (35.88,5.16,40.03,5.44), (53.36,5.16,55.47,5.44), (11.75,5.8,12.15,6.2), (20.44,5.8,20.84,6.2), (29.52,5.8,29.92,6.2), (32.73,5.8,33.13,6.2), (44.38,5.8,44.78,6.2), (46.21,5.8,46.61,6.2), (11.81,5.86,20.78,6.14), (29.58,5.86,33.07,6.14), (44.44,5.86,46.55,6.14), (0.73,6.71,1.13,7.11), (10.26,6.71,10.66,7.11), (20.44,6.71,20.84,7.11), (27.23,6.71,27.63,7.11), (32.73,6.71,33.13,7.11), (39.69,6.71,40.09,7.11), (1.29,7.75,1.69,8.15), (10.82,7.75,11.22,8.15), (21,7.75,21.4,8.15), (27.63,7.75,28.03,8.15), (33.13,7.75,33.53,8.15), (34.89,7.75,35.29,8.15), (40.09,7.75,40.49,8.15), (41.69,7.75,42.09,8.15), (43.45,7.75,43.85,8.15), (1.35,7.81,2.56,8.09), (10.88,7.81,12.09,8.09), (21.06,7.81,22.27,8.09), (27.69,7.81,29.86,8.09), (33.19,7.81,36.16,8.09), (40.15,7.81,44.72,8.09), (46.67,7.81,53.64,8.09), (28.4,13,28.8,13.4), (30.4,13,30.8,13.4), (31.4,13,31.8,13.4), (33.9,13,34.3,13.4), (34.9,13,35.3,13.4), (45.4,13,45.8,13.4), (-4.07,15.3,-3.67,15.7), (5.18,15.3,5.58,15.7), (14.71,15.3,15.11,15.7), (24.89,15.3,25.29,15.7), (32.48,15.3,32.88,15.7), (38.78,15.3,39.18,15.7), (44.38,15.3,44.78,15.7), (21.93,20.5,22.33,20.9), (29.52,20.5,29.92,20.9), (35.82,20.5,36.22,20.9), (11.75,25.7,12.15,26.1), (2.22,30.9,2.62,31.3)])
A(e03_rf_chain_pa, via2, 2.47, -0.03, 0.26, 0.26, 67, 1, 1, 0)
A(e03_rf_chain_pa, via2, 55.6, 2.42, 0.26, 0.26, 8, 1, 1.6, 0)
A(e03_rf_chain_pa, via2, 3.47, 13.07, 0.26, 0.26, 7, 1, 1, 0)
A(e03_rf_chain_pa, via2, 12.97, 13.07, 0.26, 0.26, 7, 1, 1, 0)
A(e03_rf_chain_pa, via2, 22.97, 13.07, 0.26, 0.26, 4, 1, 1, 0)
A(e03_rf_chain_pa, via2, 36.97, 13.07, 0.26, 0.26, 3, 1, 1, 0)
A(e03_rf_chain_pa, via2, 40.97, 13.07, 0.26, 0.26, 3, 1, 1, 0)
A(e03_rf_chain_pa, via2, 47.47, 13.07, 0.26, 0.26, 6, 1, 1, 0)
R(e03_rf_chain_pa, via2, [(0.8,5.17,1.06,5.43), (0.8,6.78,1.06,7.04), (10.33,6.78,10.59,7.04), (20.51,6.78,20.77,7.04), (27.3,6.78,27.56,7.04), (32.8,6.78,33.06,7.04), (39.76,6.78,40.02,7.04), (28.47,13.07,28.73,13.33), (30.47,13.07,30.73,13.33), (31.47,13.07,31.73,13.33), (33.97,13.07,34.23,13.33), (34.97,13.07,35.23,13.33), (45.47,13.07,45.73,13.33), (-4,15.37,-3.74,15.63), (5.25,15.37,5.51,15.63), (14.78,15.37,15.04,15.63), (24.96,15.37,25.22,15.63), (32.55,15.37,32.81,15.63), (38.85,15.37,39.11,15.63)])
A(e03_rf_chain_pa, via3, 2.47, -0.03, 0.26, 0.26, 67, 1, 1, 0)
A(e03_rf_chain_pa, via3, 55.6, 2.42, 0.26, 0.26, 8, 1, 1.6, 0)
A(e03_rf_chain_pa, via3, 3.47, 13.07, 0.26, 0.26, 7, 1, 1, 0)
A(e03_rf_chain_pa, via3, 12.97, 13.07, 0.26, 0.26, 7, 1, 1, 0)
A(e03_rf_chain_pa, via3, 22.97, 13.07, 0.26, 0.26, 4, 1, 1, 0)
A(e03_rf_chain_pa, via3, 36.97, 13.07, 0.26, 0.26, 3, 1, 1, 0)
A(e03_rf_chain_pa, via3, 40.97, 13.07, 0.26, 0.26, 3, 1, 1, 0)
A(e03_rf_chain_pa, via3, 47.47, 13.07, 0.26, 0.26, 6, 1, 1, 0)
R(e03_rf_chain_pa, via3, [(28.47,13.07,28.73,13.33), (30.47,13.07,30.73,13.33), (31.47,13.07,31.73,13.33), (33.97,13.07,34.23,13.33), (34.97,13.07,35.23,13.33), (45.47,13.07,45.73,13.33)])
A(e03_rf_chain_pa, metal3, 2.4, -0.1, 0.4, 0.4, 67, 1, 1, 0)
A(e03_rf_chain_pa, metal3, 55.53, 2.35, 0.4, 0.4, 8, 1, 1.6, 0)
A(e03_rf_chain_pa, metal3, 3.4, 13, 0.4, 0.4, 7, 1, 1, 0)
A(e03_rf_chain_pa, metal3, 12.9, 13, 0.4, 0.4, 7, 1, 1, 0)
A(e03_rf_chain_pa, metal3, 22.9, 13, 0.4, 0.4, 4, 1, 1, 0)
A(e03_rf_chain_pa, metal3, 36.9, 13, 0.4, 0.4, 3, 1, 1, 0)
A(e03_rf_chain_pa, metal3, 40.9, 13, 0.4, 0.4, 3, 1, 1, 0)
A(e03_rf_chain_pa, metal3, 47.4, 13, 0.4, 0.4, 6, 1, 1, 0)
R(e03_rf_chain_pa, metal3, [(0.73,5.1,1.13,5.5), (0.73,6.71,1.13,7.11), (10.26,6.71,10.66,7.11), (20.44,6.71,20.84,7.11), (27.23,6.71,27.63,7.11), (32.73,6.71,33.13,7.11), (39.69,6.71,40.09,7.11), (0.79,6.77,1.07,15.64), (10.32,6.77,10.6,15.64), (20.5,6.77,20.78,15.64), (27.29,6.77,27.57,15.64), (32.79,6.77,33.07,15.64), (39.75,6.77,40.03,15.64), (28.4,13,28.8,13.4), (30.4,13,30.8,13.4), (31.4,13,31.8,13.4), (33.9,13,34.3,13.4), (34.9,13,35.3,13.4), (45.4,13,45.8,13.4), (-4.07,15.3,-3.67,15.7), (5.18,15.3,5.58,15.7), (14.71,15.3,15.11,15.7), (24.89,15.3,25.29,15.7), (32.48,15.3,32.88,15.7), (38.78,15.3,39.18,15.7), (-4.01,15.36,1.07,15.64), (5.24,15.36,10.6,15.64), (14.77,15.36,20.78,15.64), (24.95,15.36,27.57,15.64), (32.54,15.36,33.07,15.64), (38.84,15.36,40.03,15.64)])
A(e03_rf_chain_pa, metal4, 2.4, -0.1, 0.4, 0.4, 67, 1, 1, 0)
A(e03_rf_chain_pa, metal4, 55.53, 2.35, 0.4, 0.4, 8, 1, 1.6, 0)
A(e03_rf_chain_pa, metal4, 3.4, 13, 0.4, 0.4, 7, 1, 1, 0)
A(e03_rf_chain_pa, metal4, 12.9, 13, 0.4, 0.4, 7, 1, 1, 0)
A(e03_rf_chain_pa, metal4, 22.9, 13, 0.4, 0.4, 4, 1, 1, 0)
A(e03_rf_chain_pa, metal4, 36.9, 13, 0.4, 0.4, 3, 1, 1, 0)
A(e03_rf_chain_pa, metal4, 40.9, 13, 0.4, 0.4, 3, 1, 1, 0)
A(e03_rf_chain_pa, metal4, 47.4, 13, 0.4, 0.4, 6, 1, 1, 0)
R(e03_rf_chain_pa, metal4, [(0,-0.3,69.28,0.5), (55.43,1.65,69.68,3.45), (0,12.8,53.6,13.6), (28.4,13,28.8,13.4), (30.4,13,30.8,13.4), (31.4,13,31.8,13.4), (33.9,13,34.3,13.4), (34.9,13,35.3,13.4), (45.4,13,45.8,13.4)])
e03_rf_chain_pa.add(gdstk.Reference(e03_nfet_w1_l0p28_nf1_to, (0.6,1)))
e03_rf_chain_pa.add(gdstk.Reference(e03_pfet_w2_l0p28_nf1_bo, (0.6,7.4)))
e03_rf_chain_pa.add(gdstk.Reference(e03_rhr_w1_l5p37, (-3.41,15)))
e03_rf_chain_pa.add(gdstk.Reference(e03_rhr_w1_l5p37, (-3.41,17.6)))
e03_rf_chain_pa.add(gdstk.Reference(e03_rhr_w1_l5p37, (-3.41,20.2)))
e03_rf_chain_pa.add(gdstk.Reference(e03_rhr_w1_l5p37, (-3.41,22.8)))
e03_rf_chain_pa.add(gdstk.Reference(e03_rhr_w1_l5p37, (-3.41,25.4)))
e03_rf_chain_pa.add(gdstk.Reference(e03_rhr_w1_l5p37, (-3.41,28)))
e03_rf_chain_pa.add(gdstk.Reference(e03_rhr_w1_l5p37, (-3.41,30.6)))
e03_rf_chain_pa.add(gdstk.Reference(e03_nfet_w1p6_l0p28_nf1_, (10.13,1)))
e03_rf_chain_pa.add(gdstk.Reference(e03_pfet_w3p2_l0p28_nf1_, (10.13,7.4)))
e03_rf_chain_pa.add(gdstk.Reference(e03_rhr_w1_l5p65, (5.84,15)))
e03_rf_chain_pa.add(gdstk.Reference(e03_rhr_w1_l5p65, (5.84,17.6)))
e03_rf_chain_pa.add(gdstk.Reference(e03_rhr_w1_l5p65, (5.84,20.2)))
e03_rf_chain_pa.add(gdstk.Reference(e03_rhr_w1_l5p65, (5.84,22.8)))
e03_rf_chain_pa.add(gdstk.Reference(e03_rhr_w1_l5p65, (5.84,25.4)))
e03_rf_chain_pa.add(gdstk.Reference(e03_nfet_w2p5_l0p28_nf1_, (20.31,1)))
e03_rf_chain_pa.add(gdstk.Reference(e03_pfet_w5_l0p28_nf1_bo, (20.31,7.4)))
e03_rf_chain_pa.add(gdstk.Reference(e03_rhr_w1_l6p3, (15.37,15)))
e03_rf_chain_pa.add(gdstk.Reference(e03_rhr_w1_l6p3, (15.37,17.6)))
e03_rf_chain_pa.add(gdstk.Reference(e03_rhr_w1_l6p3, (15.37,20.2)))
e03_rf_chain_pa.add(gdstk.Reference(e03_nfet_w2_l0p28_nf2_to, (27.1,1)))
e03_rf_chain_pa.add(gdstk.Reference(e03_pfet_w4_l0p28_nf2_bo, (27.1,7.4)))
e03_rf_chain_pa.add(gdstk.Reference(e03_rhr_w1_l3p71, (25.55,15)))
e03_rf_chain_pa.add(gdstk.Reference(e03_rhr_w1_l3p71, (25.55,17.6)))
e03_rf_chain_pa.add(gdstk.Reference(e03_rhr_w1_l3p71, (25.55,20.2)))
e03_rf_chain_pa.add(gdstk.Reference(e03_nfet_w2p33333_l0p28_, (32.6,1)))
e03_rf_chain_pa.add(gdstk.Reference(e03_pfet_w4p66667_l0p28_, (32.6,7.4)))
e03_rf_chain_pa.add(gdstk.Reference(e03_rhr_w1_l2p42, (33.14,15)))
e03_rf_chain_pa.add(gdstk.Reference(e03_rhr_w1_l2p42, (33.14,17.6)))
e03_rf_chain_pa.add(gdstk.Reference(e03_rhr_w1_l2p42, (33.14,20.2)))
e03_rf_chain_pa.add(gdstk.Reference(e03_nfet_w3_l0p28_nf4_to, (39.56,1)))
e03_rf_chain_pa.add(gdstk.Reference(e03_pfet_w4p8_l0p28_nf5_, (39.56,7.4)))
e03_rf_chain_pa.add(gdstk.Reference(e03_rhr_w1_l4p68, (39.44,15)))
e03_rf_chain_pa.add(gdstk.Reference(e03_nfet_w2p85714_l0p28_, (46.08,1)))
e03_rf_chain_pa.add(gdstk.Reference(e03_pfet_w5_l0p28_nf8_bo, (46.08,7.4)))
e03_rf_chain_pa.add(gdstk.Reference(e03_nfet_w3p125_l0p28_nf, (55,1)))
e03_rf_chain_pa.add(gdstk.Reference(e03_tap_sub_2, (0.4,0.1)))
e03_rf_chain_pa.add(gdstk.Reference(e03_tap_sub_2, (2.4,0.1)))
e03_rf_chain_pa.add(gdstk.Reference(e03_tap_sub_2, (4.4,0.1)))
e03_rf_chain_pa.add(gdstk.Reference(e03_tap_sub_2, (6.4,0.1)))
e03_rf_chain_pa.add(gdstk.Reference(e03_tap_sub_2, (8.4,0.1)))
e03_rf_chain_pa.add(gdstk.Reference(e03_tap_sub_2, (10.4,0.1)))
e03_rf_chain_pa.add(gdstk.Reference(e03_tap_sub_2, (12.4,0.1)))
e03_rf_chain_pa.add(gdstk.Reference(e03_tap_sub_2, (14.4,0.1)))
e03_rf_chain_pa.add(gdstk.Reference(e03_tap_sub_2, (16.4,0.1)))
e03_rf_chain_pa.add(gdstk.Reference(e03_tap_sub_2, (18.4,0.1)))
e03_rf_chain_pa.add(gdstk.Reference(e03_tap_sub_2, (20.4,0.1)))
e03_rf_chain_pa.add(gdstk.Reference(e03_tap_sub_2, (22.4,0.1)))
e03_rf_chain_pa.add(gdstk.Reference(e03_tap_sub_2, (24.4,0.1)))
e03_rf_chain_pa.add(gdstk.Reference(e03_tap_sub_2, (26.4,0.1)))
e03_rf_chain_pa.add(gdstk.Reference(e03_tap_sub_2, (28.4,0.1)))
e03_rf_chain_pa.add(gdstk.Reference(e03_tap_sub_2, (30.4,0.1)))
e03_rf_chain_pa.add(gdstk.Reference(e03_tap_sub_2, (32.4,0.1)))
e03_rf_chain_pa.add(gdstk.Reference(e03_tap_sub_2, (34.4,0.1)))
e03_rf_chain_pa.add(gdstk.Reference(e03_tap_sub_2, (36.4,0.1)))
e03_rf_chain_pa.add(gdstk.Reference(e03_tap_sub_2, (38.4,0.1)))
e03_rf_chain_pa.add(gdstk.Reference(e03_tap_sub_2, (40.4,0.1)))
e03_rf_chain_pa.add(gdstk.Reference(e03_tap_sub_2, (42.4,0.1)))
e03_rf_chain_pa.add(gdstk.Reference(e03_tap_sub_2, (44.4,0.1)))
e03_rf_chain_pa.add(gdstk.Reference(e03_tap_sub_2, (46.4,0.1)))
e03_rf_chain_pa.add(gdstk.Reference(e03_tap_sub_2, (48.4,0.1)))
e03_rf_chain_pa.add(gdstk.Reference(e03_tap_sub_2, (50.4,0.1)))
e03_rf_chain_pa.add(gdstk.Reference(e03_tap_sub_2, (52.4,0.1)))
e03_rf_chain_pa.add(gdstk.Reference(e03_tap_sub_2, (54.4,0.1)))
e03_rf_chain_pa.add(gdstk.Reference(e03_tap_sub_2, (56.4,0.1)))
e03_rf_chain_pa.add(gdstk.Reference(e03_tap_sub_2, (58.4,0.1)))
e03_rf_chain_pa.add(gdstk.Reference(e03_tap_sub_2, (60.4,0.1)))
e03_rf_chain_pa.add(gdstk.Reference(e03_tap_sub_2, (62.4,0.1)))
e03_rf_chain_pa.add(gdstk.Reference(e03_tap_sub_2, (64.4,0.1)))
e03_rf_chain_pa.add(gdstk.Reference(e03_tap_sub_2, (66.4,0.1)))
e03_rf_chain_pa.add(gdstk.Reference(e03_tap_sub_2, (68.4,0.1)))
e03_rf_chain_pa.add(gdstk.Reference(e03_tap_nw_1, (0.4,13.2)))
e03_rf_chain_pa.add(gdstk.Reference(e03_tap_nw_1, (2.4,13.2)))
e03_rf_chain_pa.add(gdstk.Reference(e03_tap_nw_1, (4.4,13.2)))
e03_rf_chain_pa.add(gdstk.Reference(e03_tap_nw_1, (6.4,13.2)))
e03_rf_chain_pa.add(gdstk.Reference(e03_tap_nw_1, (8.4,13.2)))
e03_rf_chain_pa.add(gdstk.Reference(e03_tap_nw_1, (10.4,13.2)))
e03_rf_chain_pa.add(gdstk.Reference(e03_tap_nw_1, (12.4,13.2)))
e03_rf_chain_pa.add(gdstk.Reference(e03_tap_nw_1, (14.4,13.2)))
e03_rf_chain_pa.add(gdstk.Reference(e03_tap_nw_1, (16.4,13.2)))
e03_rf_chain_pa.add(gdstk.Reference(e03_tap_nw_1, (18.4,13.2)))
e03_rf_chain_pa.add(gdstk.Reference(e03_tap_nw_1, (20.4,13.2)))
e03_rf_chain_pa.add(gdstk.Reference(e03_tap_nw_1, (22.4,13.2)))
e03_rf_chain_pa.add(gdstk.Reference(e03_tap_nw_1, (24.4,13.2)))
e03_rf_chain_pa.add(gdstk.Reference(e03_tap_nw_1, (26.4,13.2)))
e03_rf_chain_pa.add(gdstk.Reference(e03_tap_nw_1, (28.4,13.2)))
e03_rf_chain_pa.add(gdstk.Reference(e03_tap_nw_1, (30.4,13.2)))
e03_rf_chain_pa.add(gdstk.Reference(e03_tap_nw_1, (32.4,13.2)))
e03_rf_chain_pa.add(gdstk.Reference(e03_tap_nw_1, (34.4,13.2)))
e03_rf_chain_pa.add(gdstk.Reference(e03_tap_nw_1, (36.4,13.2)))
e03_rf_chain_pa.add(gdstk.Reference(e03_tap_nw_1, (38.4,13.2)))
e03_rf_chain_pa.add(gdstk.Reference(e03_tap_nw_1, (40.4,13.2)))
e03_rf_chain_pa.add(gdstk.Reference(e03_tap_nw_1, (42.4,13.2)))
e03_rf_chain_pa.add(gdstk.Reference(e03_tap_nw_1, (44.4,13.2)))
e03_rf_chain_pa.add(gdstk.Reference(e03_tap_nw_1, (46.4,13.2)))
e03_rf_chain_pa.add(gdstk.Reference(e03_tap_nw_1, (48.4,13.2)))
e03_rf_chain_pa.add(gdstk.Reference(e03_tap_nw_1, (50.4,13.2)))
e03_rf_chain_pa.add(gdstk.Reference(e03_tap_nw_1, (52.4,13.2)))
e03_rf_chain_pa.add(gdstk.Label('D1', (55.33,4.605), layer=34, texttype=10))
e03_rf_chain_pa.add(gdstk.Label('RF_DRV1', (0.93,5.3), layer=42, texttype=10))
e03_rf_chain_pa.add(gdstk.Label('PA_DRAIN', (69.28,2.55), layer=46, texttype=10))
e03_rf_chain_pa.add(gdstk.Label('VSS', (0.3,0.1), layer=46, texttype=10))
e03_rf_chain_pa.add(gdstk.Label('VDD', (0.3,13.2), layer=46, texttype=10))

lib.write_gds('E03_RF_CHAIN_PA.gds')
